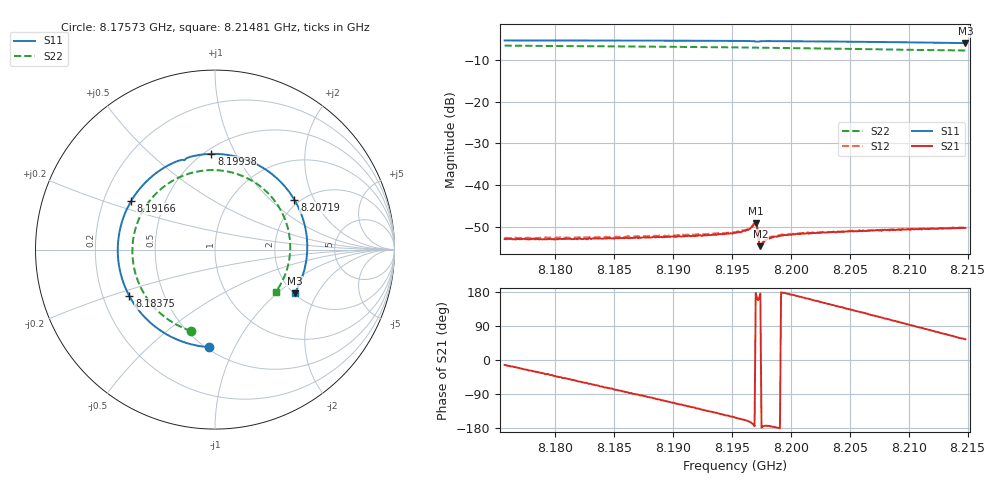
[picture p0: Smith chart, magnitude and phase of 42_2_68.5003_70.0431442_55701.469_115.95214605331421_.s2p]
#  HZ  S  RI  R  50.00
! Rohde & Schwarz Vector Network Analyzer
! Rohde-Schwarz,ZNB20-2Port,1311601062101988,3.16
! Created: UTC 3/20/2024, 5:05:38 PM
! freq[Hz]  re:S11  im:S11  re:S21  im:S21  re:S12  im:S12  re:S22  im:S22
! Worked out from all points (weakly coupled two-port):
!   401 points, 8.17573 GHz to 8.21481 GHz, reference 50 ohm
!   highest |S21| = -49.09 dB at 8.19703 GHz (marker M1); lowest = -54.7 dB at 8.19742 GHz (marker M2)
!   lowest |S11| = -5.9 dB at 8.21481 GHz (marker M3), VSWR 3.05, Z = 101 - j65.9 ohm
!   |S11| at or under -10 dB: nowhere
!   |S22| runs from -7.7 to -6.5 dB; largest |S21 - S12| = 0.00018
!   S11 on the Smith chart (normalised r, x): 8.17573 GHz: 0.52, -0.80; 8.18375 GHz: 0.31, -0.23; 8.19166 GHz: 0.32, +0.24; 8.19938 GHz: 0.54, +0.80; 8.20719 GHz: 1.87, +1.43; 8.21481 GHz: 2.02, -1.32
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8.175735e9  -0.0309 -0.5435  0.00219 -0.000506  0.00226 -0.000539  -0.1317 -0.4532
8.178861e9  -0.2378 -0.4893  0.00185 -0.00126  0.00194 -0.00136  -0.2868 -0.37
8.18228e9  -0.4212 -0.3431  0.00118 -0.0019  0.00121 -0.00201  -0.4077 -0.2229
8.183746e9  -0.4774 -0.2584  0.000829 -0.00212  0.000857 -0.00219  -0.439 -0.1476
8.186286e9  -0.5345 -0.0918  0.000133 -0.0023  0.000111 -0.00241  -0.4605 -0.00828
8.188826e9  -0.5347 0.0849  -0.00057 -0.0023  -0.000674 -0.00239  -0.4389 0.1308
8.19166e9  -0.4673 0.2706  -0.0014 -0.00202  -0.0015 -0.00205  -0.366 0.2697
8.195274e9  -0.2918 0.4514  -0.00235 -0.00126  -0.00243 -0.0012  -0.2113 0.397
8.196154e9  -0.2368 0.4814  -0.00264 -0.00101  -0.00274 -0.000925  -0.1659 0.4164
8.196935e9  -0.1819 0.5  -0.00342 -0.000316  -0.0035 -0.000166  -0.1237 0.4293
8.197033e9  -0.1747 0.4995  -0.00351 0.000182  -0.00359 0.000335  -0.1184 0.4306
8.197424e9  -0.1589 0.5082  -0.00184 0.000157  -0.00187 0.000227  -0.097 0.4354
8.197522e9  -0.152 0.5115  -0.00193 -4.42e-05  -0.00195 5.24e-05  -0.0915 0.4364
8.198205e9  -0.1031 0.5248  -0.00227 -0.000244  -0.00236 -0.000111  -0.0532 0.4415
8.199378e9  -0.0202 0.5334  -0.00249 0.000133  -0.00252 0.000257  0.0132 0.4425
8.20182e9  0.1501 0.5092  -0.00247 0.000954  -0.00248 0.00107  0.1488 0.4119
8.204458e9  0.3146 0.4228  -0.00205 0.00184  -0.002 0.00193  0.2774 0.3316
8.207194e9  0.4423 0.2779  -0.00127 0.00257  -0.00119 0.00263  0.3742 0.2042
8.208366e9  0.4789 0.2028  -0.00084 0.00273  -0.000755 0.00282  0.4003 0.1394
8.211493e9  0.5132 -0.0162  0.000431 0.00293  0.000509 0.00297  0.4149 -0.0478
8.213056e9  0.494 -0.1265  0.0011 0.00282  0.00115 0.0028  0.3902 -0.1411
8.214814e9  0.4439 -0.2424  0.00177 0.00251  0.00185 0.00249  0.3374 -0.2376
